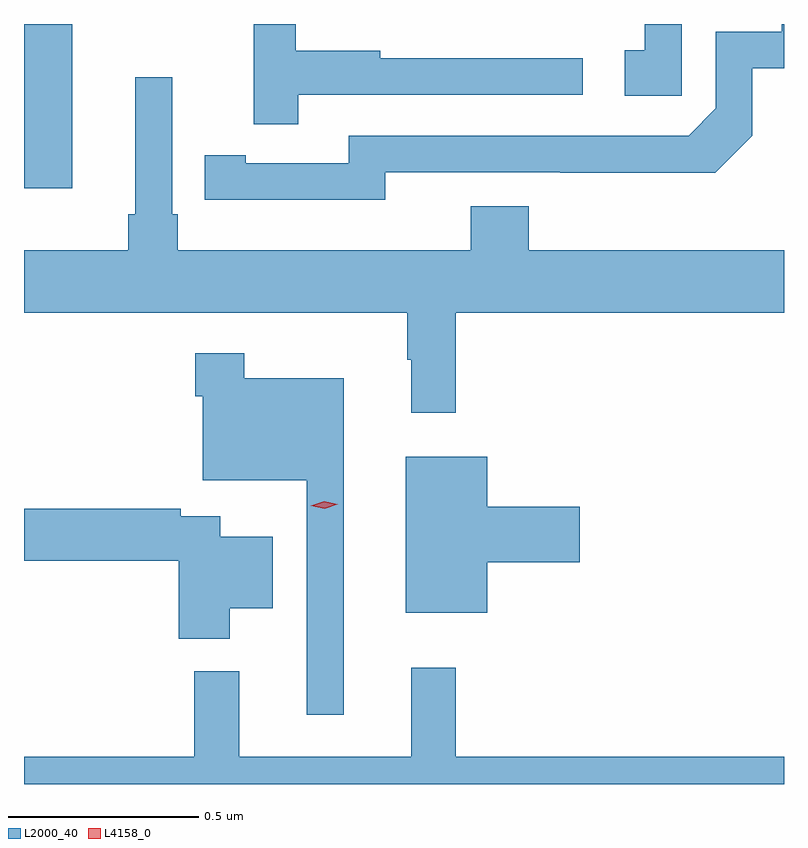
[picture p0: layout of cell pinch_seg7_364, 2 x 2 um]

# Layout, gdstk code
import gdstk
lib = gdstk.Library(unit=1e-6, precision=1e-09)
def R(c, l, rs):  # rectangles x0, y0, x1, y1
    for r in rs: c.add(gdstk.rectangle(r[:2], r[2:], *l))
def P(c, l, *ps):  # polygons
    for p in ps: c.add(gdstk.Polygon(p, *l))
L2000_40 = (2000, 40)
L4158_0 = (4158, 0)

pinch_seg7_364 = lib.new_cell('pinch_seg7_364')
R(pinch_seg7_364, L2000_40, [(433.557,1020.924,433.684,1021.356), (434.591,1021.355,435.01,1021.356)])
P(pinch_seg7_364, L2000_40, [(434.508,1020.966),(434.968,1020.966),(434.968,1020.965),(435.376,1020.965),(435.474,1021.062),(435.474,1021.239),(435.557,1021.239),(435.557,1021.356),(435.551,1021.356),(435.551,1021.335),(435.378,1021.335),(435.378,1021.134),(435.306,1021.062),(434.412,1021.062),(434.412,1020.99),(434.14,1020.99),(434.14,1021.01),(434.032,1021.01),(434.032,1020.894),(434.14,1020.894),(434.14,1020.893),(434.508,1020.893)],
  [(435.288,1021.356),(435.191,1021.356),(435.191,1021.287),(435.138,1021.287),(435.138,1021.167),(435.288,1021.167)],
  [(434.279,1021.17),(435.028,1021.17),(435.028,1021.266),(434.495,1021.266),(434.495,1021.286),(434.272,1021.286),(434.272,1021.356),(434.162,1021.356),(434.162,1021.092),(434.279,1021.092)],
  [(434.693,1020.596),(435.557,1020.596),(435.557,1020.76),(434.885,1020.76),(434.885,1020.877),(434.732,1020.877),(434.732,1020.76),(433.961,1020.76),(433.961,1020.856),(433.947,1020.856),(433.947,1021.216),(433.85,1021.216),(433.85,1020.856),(433.831,1020.856),(433.831,1020.76),(433.557,1020.76),(433.557,1020.596),(434.565,1020.596),(434.565,1020.473),(434.576,1020.473),(434.576,1020.333),(434.693,1020.333)],
  [(434.398,1020.424),(434.137,1020.424),(434.137,1020.49),(434.008,1020.49),(434.008,1020.377),(434.028,1020.377),(434.028,1020.155),(434.301,1020.155),(434.301,1019.538),(434.398,1019.538)],
  [(434.776,1019.939),(435.019,1019.939),(435.019,1020.086),(434.776,1020.086),(434.776,1020.217),(434.561,1020.217),(434.561,1019.807),(434.776,1019.807)],
  [(434.098,1019.819),(434.212,1019.819),(434.212,1020.007),(434.073,1020.007),(434.073,1020.06),(433.97,1020.06),(433.97,1020.08),(433.557,1020.08),(433.557,1019.944),(433.964,1019.944),(433.964,1019.738),(434.098,1019.738)],
  [(435.557,1019.428),(434.693,1019.428),(434.693,1019.662),(434.576,1019.662),(434.576,1019.428),(434.123,1019.428),(434.123,1019.653),(434.005,1019.653),(434.005,1019.428),(433.557,1019.428),(433.557,1019.356),(435.557,1019.356)])
P(pinch_seg7_364, L4158_0, [(434.348,1020.08),(434.311,1020.088),(434.311,1020.088),(434.311,1020.088),(434.347,1020.1),(434.383,1020.092),(434.383,1020.092),(434.383,1020.092)])

lib.write_gds('pinch_seg7_364.gds')
